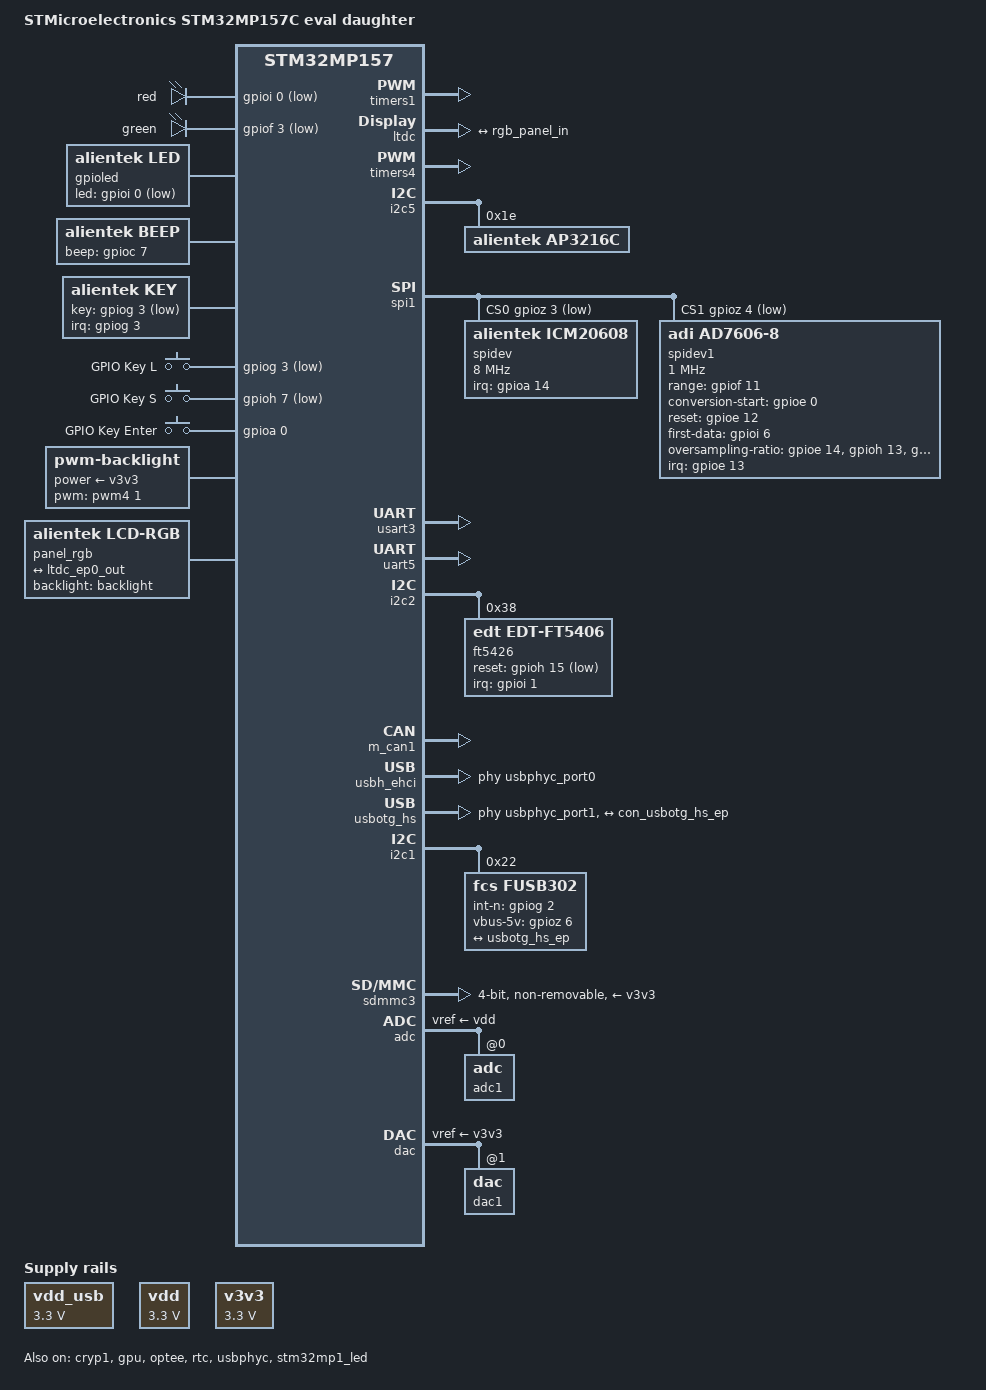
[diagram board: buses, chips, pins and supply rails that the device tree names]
// SPDX-License-Identifier: (GPL-2.0+ OR BSD-3-Clause)
/*
 * Copyright (C) STMicroelectronics 2019 - All Rights Reserved
 * Author: Alexandre Torgue <alexandre.torgue@st.com> for STMicroelectronics.
 */
 /dts-v1/;

#include "stm32mp157.dtsi"
#include "stm32mp15xc.dtsi"
#include "stm32mp15-pinctrl.dtsi"
#include "stm32mp15xxaa-pinctrl.dtsi"
#include "stm32mp157-m4-srm.dtsi"
#include "stm32mp157-m4-srm-pinctrl.dtsi"
#include "stm32mp157d-atk.dtsi"
#include "dt-bindings/input/input.h"
#include <dt-bindings/usb/pd.h>
/ {
	model = "STMicroelectronics STM32MP157C eval daughter";
	compatible = "st,stm32mp157c-ed1", "st,stm32mp157";

	chosen {
		stdout-path = "serial0:115200n8";
	};

	aliases {
		serial0 = &uart4;//这里会生成一个名为/dev/ttySTM0的设备文件
		serial1 = &uart5;//这里会生存一个/dev/ttySTM1
		serial2 = &usart3;
	};

	reserved-memory {
		gpu_reserved: gpu@f6000000 {
			reg = <0xf6000000 0x8000000>;
			no-map;
		};

		optee_memory: optee@fe000000 {
			reg = <0xfe000000 0x02000000>;
			no-map;
		};
	};

 	dtsleds {
		compatible ="gpio-leds";
		pinctrl-0 =<&led_pins_a>;
		led0 {
			label ="red";
			gpios =<&gpioi 0 GPIO_ACTIVE_LOW>;
			linux,default-trigger ="heartbeat";
			default-state ="on";
		};
		led1 {
			label ="green";
			gpios =<&gpiof 3 GPIO_ACTIVE_LOW>;
			default-state ="off";
		};
	};

	stm32mp1_led {
		compatible = "atkstm32mp1-led";
		status = "okay";
		reg =<0X50000A28 0X04 /* RCC_MP_AHB4ENSETR */
			0X5000A000 0X04 /* GPIOI_MODER */
			0X5000A004 0X04 /* GPIOI_OTYPER */
			0X5000A008 0X04 /* GPIOI_OSPEEDR */
			0X5000A00C 0X04 /* GPIOI_PUPDR */
			0X5000A018 0X04>;
	};
gpioled {
	compatible = "alientek,led"	;
	pinctrl-names ="default";
	status = "okay";
	pinctrl-0=<&led_pins_a>;
	led-gpio = <&gpioi 0  GPIO_ACTIVE_LOW>;
	};
	
	beep {
		compatible = "alientek,beep"	;
		status = "okay";
		pinctrl-names ="default";
		pinctrl-0=<&beep_pins_a>;
		beep-gpio = <&gpioc 7	GPIO_ACTIVE_HIGH>;
	};
	key {
		compatible = "alientek,key"	;
		status = "okay";
		pinctrl-names ="default";
		pinctrl-0 =<&key_pins_a>;
		key-gpio = <&gpiog 3 GPIO_ACTIVE_LOW>;
		interrupt-parent= <&gpiog>;
		interrupts =<3 IRQ_TYPE_EDGE_BOTH>;
	};
		gpio-keys {
		compatible ="gpio-keys";
		pinctrl-names ="default";
		pinctrl-0 =<&key_pins_a>;
		autorepeat;
		key0 {
			label ="GPIO Key L";
			linux,code =<KEY_L>;
			gpios =<&gpiog 3 GPIO_ACTIVE_LOW>;
		};
		key1 {
			label ="GPIO Key S";
			linux,code =<KEY_S>;
			gpios =<&gpioh 7 GPIO_ACTIVE_LOW>;
		};
		wkup {
			label ="GPIO Key Enter";
			linux,code =<KEY_ENTER>;
			gpios =<&gpioa 0 GPIO_ACTIVE_HIGH>;
			gpio-key,wakeup;
		};
		};

		backlight: backlight {
			compatible ="pwm-backlight";
			pwms =<&pwm4 1 5000000>;
			brightness-levels =<0 4 8 16 32 64 128 255>;
			power-supply =<&v3v3>;
			default-brightness-level =<7>;
			status ="okay";
		};


	panel_rgb: panel-rgb {
		compatible ="alientek,lcd-rgb";
		backlight =<&backlight >;
		status ="okay";
		port {
			rgb_panel_in: endpoint {
				remote-endpoint = <&ltdc_ep0_out>;//原来这里是告诉节点数据应该输出到哪里
			};
		};
	};
 /*
	v1v2_hdmi: regulator-v1v2-hdmi {
		compatible ="regulator-fixed";
		regulator-name ="v1v2_hdmi";
		regulator-min-microvolt =<1200000>;
		regulator-max-microvolt =<1200000>;
		regulator-always-on;
		regulator-boot-on;
	};*/
	usb_phy_tuning: usb-phy-tuning { 
		 st,hs-dc-level = <2>;
 st,fs-rftime-tuning; 
 st,hs-rftime-reduction; 
 st,hs-current-trim = <15>;
 st,hs-impedance-trim = <1>;
 st,squelch-level = <3>;
 st,hs-rx-offset = <2>;
 st,no-lsfs-sc;
 };

 vdd_usb: regulator-vdd-usb { 
	 compatible = "regulator-fixed"; 
	  regulator-name = "vdd_usb"; 
	   regulator-min-microvolt = <3300000>;
 regulator-max-microvolt = <3300000>;
 regulator-always-on; 
  regulator-boot-on; 
   };

vdd: regulator-vdd {
 compatible = "regulator-fixed";
 regulator-name = "vdd";
 regulator-min-microvolt = <3300000>;
 regulator-max-microvolt = <3300000>;
 regulator-always-on;
 regulator-boot-on;
 };
 
 v3v3: regulator-3p3v {
 compatible = "regulator-fixed";
 regulator-name = "v3v3";
 regulator-min-microvolt = <3300000>;
 regulator-max-microvolt = <3300000>;
 regulator-always-on;
 regulator-boot-on;
 };

};
&cpu1 {
	cpu-supply = <&vddcore>;
};

&cryp1 {
	status="okay";
};

&gpu {
	contiguous-area = <&gpu_reserved>;
	status = "okay";
};

&optee {
	status = "okay";
};

&timers1 {
	status="okay";
	/delete-property/dmas;
	/delete-property/dma-names;
	pwm1:pwm {
		pinctrl-0 =<&pwm1_pins_a>;
		pinctrl-1=<&pwm1_sleep_pins_a>;
		pinctrl-names ="default","sleep";
		#pwm-cells =<2>;
		status ="okay";
	};
};

&ltdc {
	pinctrl-names ="default", "sleep";
	pinctrl-0 =<&ltdc_pins_b>;
	pinctrl-1 =<&ltdc_pins_sleep_b>;
	status ="okay";
	port {
		#address-cells =<1>;
		#size-cells =<0>;

 		ltdc_ep0_out: endpoint@0 {
		reg =<0>;
		remote-endpoint =<&rgb_panel_in>;//这就是说明下数据要输出到哪里
		};
	};
};

&timers4 {
	status ="okay";
	/delete-property/ dmas;
	/delete-property/dma-names;
	pwm4: pwm {
		pinctrl-0 = <&pwm4_pins_b>;
		pinctrl-1 = <&pwm4_sleep_pins_b>;
		pinctrl-names ="default","sleep";
		#pwm-cells =<2>;
		status ="okay";
	};
};

&i2c5 {
	pinctrl-names ="default","sleep";
	pinctrl-0 =<&i2c5_pins_a>;//这里是添加下pinctrl子系统
	pinctrl-1=<&i2c5_pins_sleep_a>;
	status ="okay";

	ap3216c@1e {
		compatible ="alientek,ap3216c";
		reg =<0x1e>;
	};

};
/*实时时钟的PZ4被占用*/
/*&i2c4 {
	pinctrl-names ="default","sleep";
	pinctrl-0 =<&i2c4_pins_a>;
	pinctrl-1 =<&i2c4_pins_sleep_a>;
	status ="okay";

	pcf8563@51 {
		compatible ="nxp,pcf8563";
		irq_gpio =<&gpioi 3 IRQ_TYPE_EDGE_FALLING>;
		reg =<0x51>;
	};
	
};*/

&rtc {
	status ="okay";
};

&spi1 {
	pinctrl-names ="default","sleep";
	pinctrl-0 =<&spi1_pins_a>;
	pinctrl-1=<&spi1_sleep_pins_a>;
	cs-gpios =<&gpioz 3 GPIO_ACTIVE_LOW>,
						 <&gpioz 4 GPIO_ACTIVE_LOW>;
						
	status ="okay";

	spidev: icm20608@0 {
		compatible ="alientek,icm20608";
		reg =<0>;//这就是第一个片选信号，iic中的是地址。
		pinctrl-names ="default";
		pinctrl-0=<&icm20608_pins_b>;
		interrupt-parent =<&gpioa>;
		interrupts=<14 IRQ_TYPE_LEVEL_HIGH>;
		spi-max-frequency =<8000000>;//这里是最大时钟频率
	};
	spidev1:ad7606@1 {
                compatible = "adi,ad7606-8";
                reg = <1>;
                spi-max-frequency = <1000000>;
                spi-cpol;
                spi-cpha;
                pinctrl-name = "default";
                pinctrl-0 =<&ad7606_pins_a>;
				interrupt-parent = <&gpioe>;
                interrupts = <13 IRQ_TYPE_EDGE_FALLING>;
                
                adi,range-gpios =<&gpiof 11 GPIO_ACTIVE_HIGH>;
                adi,conversion-start-gpios = <&gpioe 0 GPIO_ACTIVE_HIGH>;
                reset-gpios = <&gpioe 12 GPIO_ACTIVE_HIGH>;
                adi,first-data-gpios = <&gpioi 6 GPIO_ACTIVE_HIGH>;
                adi,oversampling-ratio-gpios = <&gpioe 14 GPIO_ACTIVE_HIGH>,
                                               <&gpioh 13 GPIO_ACTIVE_HIGH>,
                                               <&gpioi 7 GPIO_ACTIVE_HIGH>;
                
                adi,sw-mode;
        };


	
};

&usart3 {
	pinctrl-names ="default";
	pinctrl-0 =<&usart3_pins_c>;
	status ="okay";
};
&uart5 {
	pinctrl-names ="default";
	pinctrl-0=<&uart5_pins_a>;
	status ="okay";
};


&i2c2 {
	pinctrl-names ="default","sleep";
	pinctrl-0 =<&i2c2_pins_a>;
	pinctrl-1 =<&i2c2_pins_sleep_a>;
	status ="okay";

	//ft5426
	ft5426: ft5426@38 {
		compatible ="edt,edt-ft5406";
		pinctrl-0 =<&ft5426int_reset_pins_a>;
		reg =<0x38>;
		interrupt-parent = <&gpioi>;
		interrupts =<1 IRQ_TYPE_EDGE_RISING>;
		//irq-gpios =<&gpioi 1 GPIO_ACTIVE_LOW>;//这里设置的是推挽输出，默认是低电平，为沙不设置中断呢
		reset-gpios =<&gpioh 15 GPIO_ACTIVE_LOW>;
		status ="okay";
	};
 	/*
	hdmi: hdmi-transmitter@39 {
		compatible ="sil,sii9022";
		reg =<0x39>;
		iovcc-supply =<&v3v3>;
		cvcc12-supply =<&v1v2_hdmi>;
		reset-gpios =<&gpioa 3 GPIO_ACTIVE_LOW>;
		interrupts =<6 IRQ_TYPE_EDGE_FALLING>;
		interrupt-parent =<&gpioh>;
		#sound-dai-cells =<1>;
		status ="okay";
		ports {
				#address-cells =<1>;
				#size-cells =<0>;

				port@0 {
					reg =<0>;
					sii9022_in: endpoint{
						remote-endpoint =<&ltdc_ep0_out>;//本质上还是RGB
					};
				};
		};
	};*/
};

&m_can1 {//追加的子节点是153.dtsi上的，但是我并没有包含其头文件
	pinctrl-names = "default","sleep";
	pinctrl-0 = <&m_can1_pins_a>;//追加的引脚配置是pinctrl文件中的，这里需要修改下，因为pin节点名词不是这个
	pinctrl-1=<&m_can1_sleep_pins_a>;
	status = "okay";//enable表示的意思就是okay
};
//USB相关
&usbphyc {
	status ="okay";
};

&usbphyc_port0{
	phy-supply =<&v3v3>;
	st,phy-tuning =<&usb_phy_tuning>;
};

&usbh_ehci {
	phys = <&usbphyc_port0>;
	status = "okay";
};

&usbphyc_port1 { 
	 phy-supply = <&vdd_usb>;
 st,phy-tuning = <&usb_phy_tuning>;
 };

 &usbotg_hs { 
	 phys = <&usbphyc_port1 0>;
 phy-names = "usb2-phy"; 
  usb-role-switch; 
   status = "okay";
   port { 
	usbotg_hs_ep: endpoint { 
		 remote-endpoint = <&con_usbotg_hs_ep>;
 };
 };
 };
 &i2c1 { 
	pinctrl-names = "default", "sleep"; 
	 pinctrl-0 = <&i2c1_pins_b>;
   pinctrl-1 = <&i2c1_pins_sleep_b>;
  status = "okay"; 
 fusb302@22 { 
	 compatible = "fcs,fusb302","fairchild,fusb302"; 
	  reg = <0x22>;
		pinctrl-names = "default"; 
		pinctrl-0 = <&fusb302_pins_a>;
		int-n-gpios = <&gpiog 2 GPIO_ACTIVE_HIGH>;
		vbus-5v-gpios = <&gpioz 6 GPIO_ACTIVE_HIGH>;
		status = "okay"; 
		connector {
		compatible = "usb-c-connector";
		label = "USB-C";
		power-role = "dual";
		power-opmode = "default";

		try-power-role = "sink";
		source-pdos = <PDO_FIXED(5000, 3000, PDO_FIXED_USB_COMM)>;
		sink-pdos = <PDO_FIXED(5000, 3000, PDO_FIXED_USB_COMM) PDO_VAR(3000, 12000, 3000) PDO_PPS_APDO(3000, 11000, 3000)>;
		op-sink-microwatt = <10000000>;
		port {
		con_usbotg_hs_ep: endpoint {
		remote-endpoint = <&usbotg_hs_ep>;
 };
 };
 };
 };
  };

  &sdmmc3 {
	pinctrl-names ="default","opendrain","sleep";
	pinctrl-0 =<&sdmmc3_b4_pins_a>;
	pinctrl-1 =<&sdmmc3_b4_od_pins_a>;
	pinctrl-2 =<&sdmmc3_b4_sleep_pins_a>;
	non-removable;
	st,neg-edge;
	bus-width =<4>;
	vmmc-supply =<&v3v3>;
	status ="okay";
	keep-power-in-suspend;
  };

&adc {
 pinctrl-names = "default";
 pinctrl-0 = <&adc1_in19_pins_a>;
 vdd-supply = <&vdd>;
 vdda-supply = <&vdd>;
 vref-supply = <&vdd>;
 status = "okay";
 
 adc1: adc@0 {
 st,adc-channels = <19>;
 st,min-sample-time-nsecs = <10000>;
 assigned-resolution-bits = <16>;
 status = "okay";
 };
 };

 &dac {
 pinctrl-names = "default";
 pinctrl-0 = <&dac_ch1_pins_a>; 
 vref-supply = <&v3v3>; 
 status = "okay";
 dac1: dac@1 {
 status = "okay"; 
 };
 };
  
